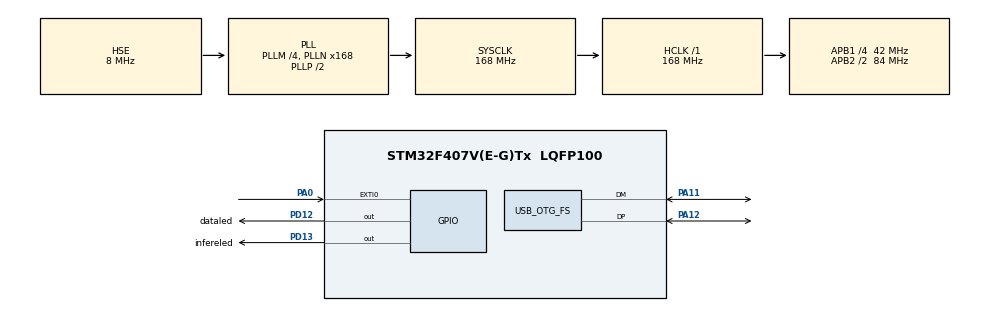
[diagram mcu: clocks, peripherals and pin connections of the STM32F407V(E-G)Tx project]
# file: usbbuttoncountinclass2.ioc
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Mcu.Family=STM32F4
Mcu.Name=STM32F407V(E-G)Tx
Mcu.Package=LQFP100
NVIC.EXTI0_IRQn=true\:0\:0\:false\:false\:true\:true\:true\:true
NVIC.OTG_FS_IRQn=true\:0\:0\:false\:false\:true\:false\:true\:true
NVIC.PriorityGroup=NVIC_PRIORITYGROUP_0
NVIC.TIM3_IRQn=true\:0\:0\:false\:false\:true\:true\:true\:true
NVIC.TIM7_IRQn=true\:0\:0\:false\:false\:true\:true\:true\:true
PA0-WKUP.GPIO_ModeDefaultEXTI=GPIO_MODE_IT_RISING_FALLING
PA0-WKUP.Signal=GPXTI0
PA11.Mode=Device_Only
PA11.Signal=USB_OTG_FS_DM
PA12.Mode=Device_Only
PA12.Signal=USB_OTG_FS_DP
PA13.Mode=Trace_Asynchronous_SW
PA13.Signal=SYS_JTMS-SWDIO
PA14.Mode=Trace_Asynchronous_SW
PA14.Signal=SYS_JTCK-SWCLK
PB3.Mode=Trace_Asynchronous_SW
PB3.Signal=SYS_JTDO-SWO
PD12.GPIO_Label=dataled
PD12.Signal=GPIO_Output
PD13.GPIO_Label=infereled
PD13.Signal=GPIO_Output
PH0-OSC_IN.Mode=HSE-External-Oscillator
PH0-OSC_IN.Signal=RCC_OSC_IN
PH1-OSC_OUT.Mode=HSE-External-Oscillator
PH1-OSC_OUT.Signal=RCC_OSC_OUT
ProjectManager.HeapSize=0x200
ProjectManager.StackSize=0x400
ProjectManager.TargetToolchain=STM32CubeIDE
RCC.48MHZClocksFreq_Value=48000000
RCC.AHBFreq_Value=168000000
RCC.APB1CLKDivider=RCC_HCLK_DIV4
RCC.APB1Freq_Value=42000000
RCC.APB1TimFreq_Value=84000000
RCC.APB2CLKDivider=RCC_HCLK_DIV2
RCC.APB2Freq_Value=84000000
RCC.APB2TimFreq_Value=168000000
RCC.CortexFreq_Value=168000000
RCC.HCLKFreq_Value=168000000
RCC.HSE_VALUE=8000000
RCC.HSI_VALUE=16000000
RCC.LSE_VALUE=32768
RCC.PLLM=4
RCC.PLLN=168
RCC.PLLQ=7
RCC.SYSCLKFreq_VALUE=168000000
RCC.SYSCLKSource=RCC_SYSCLKSOURCE_PLLCLK
RCC.VCOOutputFreq_Value=336000000
TIM2.Period=\ 4294967295
TIM2.Prescaler=42000-1
TIM3.Period=800-1
TIM3.Prescaler=42000-1
TIM6.Prescaler=1
TIM7.Period=200-1
TIM7.Prescaler=1
USB_DEVICE.CLASS_NAME_FS=CDC
USB_DEVICE.VirtualMode-CDC_FS=Cdc
USB_DEVICE.VirtualModeFS=Cdc_FS
USB_OTG_FS.VirtualMode=Device_Only
VP_TIM2_VS_ClockSourceINT.Mode=Internal
VP_TIM3_VS_ClockSourceINT.Mode=Internal
VP_TIM6_VS_ClockSourceINT.Mode=Enable_Timer
VP_TIM7_VS_ClockSourceINT.Mode=Enable_Timer
VP_USB_DEVICE_VS_USB_DEVICE_CDC_FS.Mode=CDC_FS
board=STM32F407G-DISC1

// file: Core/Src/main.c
/* USER CODE BEGIN Header */
/**
  ******************************************************************************
  * @file           : main.c
  * @brief          : Main program body
  ******************************************************************************
  * @attention
  *
  * Copyright (c) 2022 STMicroelectronics.
  * All rights reserved.
  *
  * This software is licensed under terms that can be found in the LICENSE file
  * in the root directory of this software component.
  * If no LICENSE file comes with this software, it is provided AS-IS.
  *
  ******************************************************************************
  */
/* USER CODE END Header */
#include "main.h"
#include "usb_device.h"

/* USER CODE BEGIN Includes */
static enum
  		{
  	idle,
  	bdown,
  	bup
  		}state=idle;
   enum
  {
	dataforward,
	datainfere

  }datastate;
  uint8_t result;
  uint8_t flag;
/* USER CODE END Includes */

/* USER CODE BEGIN PTD */
uint32_t buttonupcount=0;
uint32_t buttondowncount=0;
u_int32_t timer2count=0;
u_int32_t tim6count=0;
//u_int32_t tim7count=TIM7->CNT;
/* USER CODE END PTD */

TIM_HandleTypeDef htim2;
TIM_HandleTypeDef htim3;
TIM_HandleTypeDef htim6;
TIM_HandleTypeDef htim7;

void SystemClock_Config(void);
static void MX_GPIO_Init(void);
static void MX_TIM2_Init(void);
static void MX_TIM3_Init(void);
static void MX_TIM6_Init(void);
static void MX_TIM7_Init(void);

/* USER CODE BEGIN 0 */
typedef struct data
{u_int32_t t1;
 u_int32_t t2
}mydata;
/* USER CODE END 0 */

int main(void)
{
  /* USER CODE BEGIN 1 */
	datastate=dataforward;
  /* USER CODE END 1 */

  /* MCU Configuration--------------------------------------------------------*/

  /* Reset of all peripherals, Initializes the Flash interface and the Systick. */
  HAL_Init();

  /* Configure the system clock */
  SystemClock_Config();

  /* Initialize all configured peripherals */
  MX_GPIO_Init();
  MX_USB_DEVICE_Init();
  MX_TIM2_Init();
  MX_TIM3_Init();
  MX_TIM6_Init();
  MX_TIM7_Init();
  /* USER CODE BEGIN 2 */
  CDC_Transmit_FS("Hello\n",strlen("Hello\n"));
 		  HAL_Delay(1000);
 		 HAL_TIM_Base_Start_IT(&htim7) ;
  /* USER CODE END 2 */

  /* Infinite loop */
  /* USER CODE BEGIN WHILE */
  while (1)
  {
	  timer2count=TIM2->CNT;
	  if (flag==2)
	  {
		  uint8_t buffer[20]="";
		 	 sprintf(buffer,"%u,%u\n",(unsigned int) TIM2->CNT,(unsigned int) TIM6->CNT);
		 	 result=CDC_Transmit_FS(buffer,(uint16_t)strlen(buffer));

	  }
	  if (flag==0)
	  {
		  HAL_GPIO_WritePin(dataled_GPIO_Port, dataled_Pin, 1);
		  HAL_GPIO_WritePin(infereled_GPIO_Port, infereled_Pin, 0);

	  }
	  if (flag==1)
		  {
			  HAL_GPIO_WritePin(dataled_GPIO_Port, dataled_Pin, 0);
			  HAL_GPIO_WritePin(infereled_GPIO_Port, infereled_Pin, 1);

		  }
	  if (state==idle)
	  {   TIM6->CNT=0;
		  HAL_TIM_Base_Start(&htim6) ;
		  //HAL_Delay(200);

	  }
    /* USER CODE END WHILE */

  }
}

void SystemClock_Config(void)
{
  RCC_OscInitTypeDef RCC_OscInitStruct = {0};
  RCC_ClkInitTypeDef RCC_ClkInitStruct = {0};

  /** Configure the main internal regulator output voltage
  */
  __HAL_RCC_PWR_CLK_ENABLE();
  __HAL_PWR_VOLTAGESCALING_CONFIG(PWR_REGULATOR_VOLTAGE_SCALE1);

  /** Initializes the RCC Oscillators according to the specified parameters
  * in the RCC_OscInitTypeDef structure.
  */
  RCC_OscInitStruct.OscillatorType = RCC_OSCILLATORTYPE_HSE;
  RCC_OscInitStruct.HSEState = RCC_HSE_ON;
  RCC_OscInitStruct.PLL.PLLState = RCC_PLL_ON;
  RCC_OscInitStruct.PLL.PLLSource = RCC_PLLSOURCE_HSE;
  RCC_OscInitStruct.PLL.PLLM = 4;
  RCC_OscInitStruct.PLL.PLLN = 168;
  RCC_OscInitStruct.PLL.PLLP = RCC_PLLP_DIV2;
  RCC_OscInitStruct.PLL.PLLQ = 7;
  if (HAL_RCC_OscConfig(&RCC_OscInitStruct) != HAL_OK)
  {
    Error_Handler();
  }

  /** Initializes the CPU, AHB and APB buses clocks
  */
  RCC_ClkInitStruct.ClockType = RCC_CLOCKTYPE_HCLK|RCC_CLOCKTYPE_SYSCLK
                              |RCC_CLOCKTYPE_PCLK1|RCC_CLOCKTYPE_PCLK2;
  RCC_ClkInitStruct.SYSCLKSource = RCC_SYSCLKSOURCE_PLLCLK;
  RCC_ClkInitStruct.AHBCLKDivider = RCC_SYSCLK_DIV1;
  RCC_ClkInitStruct.APB1CLKDivider = RCC_HCLK_DIV4;
  RCC_ClkInitStruct.APB2CLKDivider = RCC_HCLK_DIV2;

  if (HAL_RCC_ClockConfig(&RCC_ClkInitStruct, FLASH_LATENCY_5) != HAL_OK)
  {
    Error_Handler();
  }
}

static void MX_TIM2_Init(void)
{

  TIM_ClockConfigTypeDef sClockSourceConfig = {0};
  TIM_MasterConfigTypeDef sMasterConfig = {0};

  htim2.Instance = TIM2;
  htim2.Init.Prescaler = 42000-1;
  htim2.Init.CounterMode = TIM_COUNTERMODE_UP;
  htim2.Init.Period = 4294967295;
  htim2.Init.ClockDivision = TIM_CLOCKDIVISION_DIV1;
  htim2.Init.AutoReloadPreload = TIM_AUTORELOAD_PRELOAD_DISABLE;
  if (HAL_TIM_Base_Init(&htim2) != HAL_OK)
  {
    Error_Handler();
  }
  sClockSourceConfig.ClockSource = TIM_CLOCKSOURCE_INTERNAL;
  if (HAL_TIM_ConfigClockSource(&htim2, &sClockSourceConfig) != HAL_OK)
  {
    Error_Handler();
  }
  sMasterConfig.MasterOutputTrigger = TIM_TRGO_RESET;
  sMasterConfig.MasterSlaveMode = TIM_MASTERSLAVEMODE_DISABLE;
  if (HAL_TIMEx_MasterConfigSynchronization(&htim2, &sMasterConfig) != HAL_OK)
  {
    Error_Handler();
  }

}

static void MX_TIM3_Init(void)
{

  TIM_ClockConfigTypeDef sClockSourceConfig = {0};
  TIM_MasterConfigTypeDef sMasterConfig = {0};

  htim3.Instance = TIM3;
  htim3.Init.Prescaler = 42000-1;
  htim3.Init.CounterMode = TIM_COUNTERMODE_UP;
  htim3.Init.Period = 800-1;
  htim3.Init.ClockDivision = TIM_CLOCKDIVISION_DIV1;
  htim3.Init.AutoReloadPreload = TIM_AUTORELOAD_PRELOAD_DISABLE;
  if (HAL_TIM_Base_Init(&htim3) != HAL_OK)
  {
    Error_Handler();
  }
  sClockSourceConfig.ClockSource = TIM_CLOCKSOURCE_INTERNAL;
  if (HAL_TIM_ConfigClockSource(&htim3, &sClockSourceConfig) != HAL_OK)
  {
    Error_Handler();
  }
  sMasterConfig.MasterOutputTrigger = TIM_TRGO_RESET;
  sMasterConfig.MasterSlaveMode = TIM_MASTERSLAVEMODE_DISABLE;
  if (HAL_TIMEx_MasterConfigSynchronization(&htim3, &sMasterConfig) != HAL_OK)
  {
    Error_Handler();
  }

}

static void MX_TIM6_Init(void)
{

  TIM_MasterConfigTypeDef sMasterConfig = {0};

  htim6.Instance = TIM6;
  htim6.Init.Prescaler = 1;
  htim6.Init.CounterMode = TIM_COUNTERMODE_UP;
  htim6.Init.Period = 65535;
  htim6.Init.AutoReloadPreload = TIM_AUTORELOAD_PRELOAD_DISABLE;
  if (HAL_TIM_Base_Init(&htim6) != HAL_OK)
  {
    Error_Handler();
  }
  sMasterConfig.MasterOutputTrigger = TIM_TRGO_RESET;
  sMasterConfig.MasterSlaveMode = TIM_MASTERSLAVEMODE_DISABLE;
  if (HAL_TIMEx_MasterConfigSynchronization(&htim6, &sMasterConfig) != HAL_OK)
  {
    Error_Handler();
  }

}

static void MX_TIM7_Init(void)
{

  TIM_MasterConfigTypeDef sMasterConfig = {0};

  htim7.Instance = TIM7;
  htim7.Init.Prescaler = 1;
  htim7.Init.CounterMode = TIM_COUNTERMODE_UP;
  htim7.Init.Period = 400-1;
  htim7.Init.AutoReloadPreload = TIM_AUTORELOAD_PRELOAD_DISABLE;
  if (HAL_TIM_Base_Init(&htim7) != HAL_OK)
  {
    Error_Handler();
  }
  sMasterConfig.MasterOutputTrigger = TIM_TRGO_RESET;
  sMasterConfig.MasterSlaveMode = TIM_MASTERSLAVEMODE_DISABLE;
  if (HAL_TIMEx_MasterConfigSynchronization(&htim7, &sMasterConfig) != HAL_OK)
  {
    Error_Handler();
  }

}

static void MX_GPIO_Init(void)
{
  GPIO_InitTypeDef GPIO_InitStruct = {0};

  /* GPIO Ports Clock Enable */
  __HAL_RCC_GPIOH_CLK_ENABLE();
  __HAL_RCC_GPIOA_CLK_ENABLE();
  __HAL_RCC_GPIOD_CLK_ENABLE();
  __HAL_RCC_GPIOB_CLK_ENABLE();

  /*Configure GPIO pin Output Level */
  HAL_GPIO_WritePin(GPIOD, dataled_Pin|infereled_Pin, GPIO_PIN_RESET);

  /*Configure GPIO pin : PA0 */
  GPIO_InitStruct.Pin = GPIO_PIN_0;
  GPIO_InitStruct.Mode = GPIO_MODE_IT_RISING_FALLING;
  GPIO_InitStruct.Pull = GPIO_NOPULL;
  HAL_GPIO_Init(GPIOA, &GPIO_InitStruct);

  /*Configure GPIO pins : dataled_Pin infereled_Pin */
  GPIO_InitStruct.Pin = dataled_Pin|infereled_Pin;
  GPIO_InitStruct.Mode = GPIO_MODE_OUTPUT_PP;
  GPIO_InitStruct.Pull = GPIO_NOPULL;
  GPIO_InitStruct.Speed = GPIO_SPEED_FREQ_LOW;
  HAL_GPIO_Init(GPIOD, &GPIO_InitStruct);

  /* EXTI interrupt init*/
  HAL_NVIC_SetPriority(EXTI0_IRQn, 0, 0);
  HAL_NVIC_EnableIRQ(EXTI0_IRQn);

}

/* USER CODE BEGIN 4 */
void HAL_GPIO_EXTI_Callback(uint16_t GPIO_Pin)
{
	if (GPIO_Pin==GPIO_PIN_0)
	{
		switch (HAL_GPIO_ReadPin(GPIOA, GPIO_PIN_0))
		{case 0:
			 HAL_TIM_Base_Stop(&htim2);
			HAL_TIM_Base_Start_IT(&htim3);

			HAL_NVIC_DisableIRQ(EXTI0_IRQn);
			state=bup;
			buttonupcount++;

			break;

		case 1:
			TIM2->CNT=0;
			 HAL_TIM_Base_Stop(&htim6) ;
              HAL_TIM_Base_Start(&htim2);
			state=bdown;
			buttondowncount++;
			tim6count=TIM6->CNT;

			break;

		}
		//HAL_NVIC_DisableIRQ(EXTI0_IRQn);

	}// if button
}//exti callback
void HAL_TIM_PeriodElapsedCallback(TIM_HandleTypeDef *htim)
{

	if (htim==&htim3)
	{
	 HAL_TIM_Base_Stop_IT(&htim3);
	 //uint8_t buffer[20]="";
	 //sprintf(buffer,"%u,%u\n",(unsigned int) TIM2->CNT,(unsigned int) TIM3->CNT);
	  //result=CDC_Transmit_FS(buffer,(uint16_t)strlen(buffer));

	 HAL_NVIC_EnableIRQ(EXTI0_IRQn);

	 state=idle;
	}//htim3
 if (htim==&htim7)
 {
	flag=2;
 }
}//period callback

/* USER CODE END 4 */

void Error_Handler(void)
{
  __disable_irq();
  while (1)
  {
  }
}
